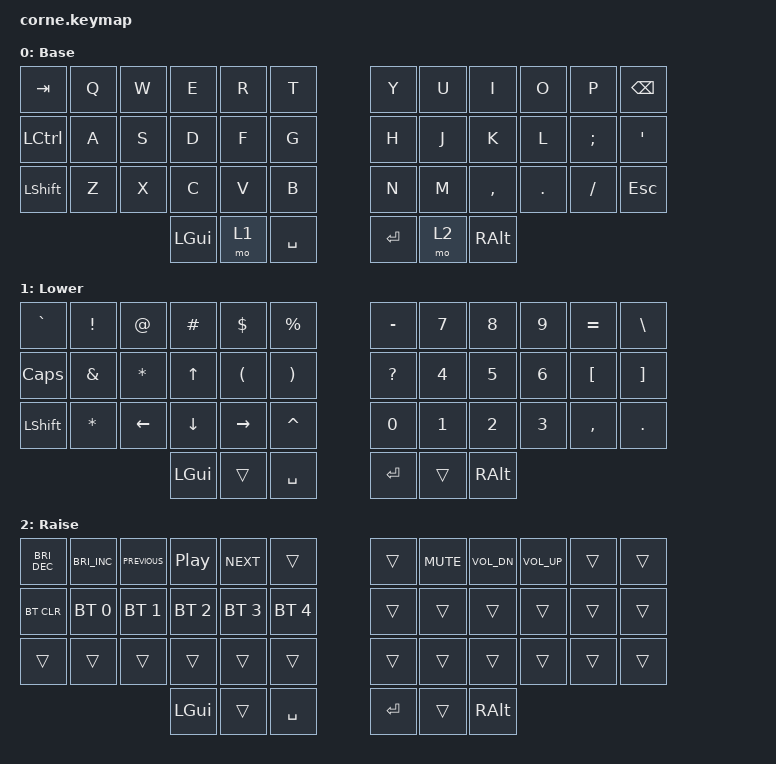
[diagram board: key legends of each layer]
/*
 * Copyright (c) 2020 The ZMK Contributors
 *
 * SPDX-License-Identifier: MIT
 */

#include <behaviors.dtsi>
#include <dt-bindings/zmk/keys.h>
#include <dt-bindings/zmk/bt.h>

/ {
        keymap {
                compatible = "zmk,keymap";

                default_layer {
// -----------------------------------------------------------------------------------------
// |  TAB |  Q  |  W  |  E  |  R  |  T  |   |  Y  |  U   |  I  |  O  |  P  | BKSP |
// | CTRL |  A  |  S  |  D  |  F  |  G  |   |  H  |  J   |  K  |  L  |  ;  |  '   |
// | SHFT |  Z  |  X  |  C  |  V  |  B  |   |  N  |  M   |  ,  |  .  |  /  | ESC  |
//                    | GUI | LWR | SPC |   | ENT | RSE  | ALT |
                        display-name = "Base";
                        bindings = <
   &kp TAB   &kp Q &kp W &kp E &kp R &kp T   &kp Y &kp U  &kp I     &kp O   &kp P    &kp BSPC
   &kp LCTRL &kp A &kp S &kp D &kp F &kp G   &kp H &kp J  &kp K     &kp L   &kp SEMI &kp SQT
   &kp LSHFT &kp Z &kp X &kp C &kp V &kp B   &kp N &kp M  &kp COMMA &kp DOT &kp FSLH &kp ESC
                  &kp LGUI &mo 1 &kp SPACE   &kp RET &mo 2 &kp RALT
                        >;
                };
                lower_layer {
// -----------------------------------------------------------------------------------------
// |  TAB |  1  |  2  |  3  |  4  |  5  |   |  6  |  7  |  8  |  9  |  0  | BKSP |
// | BTCLR| BT1 | BT2 | BT3 | BT4 | BT5 |   | LFT | DWN |  UP | RGT |     |      |
// | SHFT |     |     |     |     |     |   |     |     |     |     |     |      |
//                    | GUI |     | SPC |   | ENT |     | ALT |
                        display-name = "Lower";
                        bindings = <
   &kp GRAVE       &kp EXCLAMATION  &kp AT_SIGN     &kp POUND     &kp DOLLAR            &kp PERCENT              &kp MINUS     &kp N7        &kp N8         &kp N9        &kp EQUAL         &kp BACKSLASH
   &kp CAPSLOCK    &kp AMPERSAND    &kp ASTERISK    &kp UP_ARROW  &kp LEFT_PARENTHESIS  &kp RIGHT_PARENTHESIS    &kp QUESTION  &kp NUMBER_4  &kp N5         &kp NUMBER_6  &kp LEFT_BRACKET  &kp RIGHT_BRACKET
   &kp LEFT_SHIFT  &kp ASTERISK     &kp LEFT_ARROW  &kp DOWN      &kp RIGHT_ARROW       &kp CARET                &kp NUMBER_0  &kp NUMBER_1  &kp NUMBER_2   &kp NUMBER_3  &kp COMMA         &kp PERIOD
                                                    &kp LGUI      &trans                &kp SPACE                &kp RET       &trans        &kp RIGHT_ALT
            >;
                };

                raise_layer {
// -----------------------------------------------------------------------------------------
// |  TAB |  !  |  @  |  #  |  $  |  %  |   |  ^  |  &  |  *  |  (  |  )  | BKSP |
// | CTRL |     |     |     |     |     |   |  -  |  =  |  [  |  ]  |  \  |  `   |
// | SHFT |     |     |     |     |     |   |  _  |  +  |  {  |  }  | "|" |  ~   |
//                    | GUI |     | SPC |   | ENT |     | ALT |
                        display-name = "Raise";
                        bindings = <
   &kp C_BRIGHTNESS_DEC  &kp C_BRIGHTNESS_INC  &kp C_PREVIOUS  &kp C_PLAY_PAUSE  &kp C_NEXT    &trans          &trans   &kp C_MUTE  &kp C_VOL_DN  &kp C_VOLUME_UP  &trans  &trans
   &bt BT_CLR            &bt BT_SEL 0          &bt BT_SEL 1    &bt BT_SEL 2      &bt BT_SEL 3  &bt BT_SEL 4    &trans   &trans      &trans        &trans           &trans  &trans
   &trans                &trans                &trans          &trans            &trans        &trans          &trans   &trans      &trans        &trans           &trans  &trans
                                                            &kp LGUI          &trans        &kp SPACE       &kp RET  &trans      &kp RALT
            >;
                };

                extra_1 {
                        status = "reserved";
                };

                extra_2 {
                        status = "reserved";
                };

                extra_3 {
                        status = "reserved";
                };
        };
};
